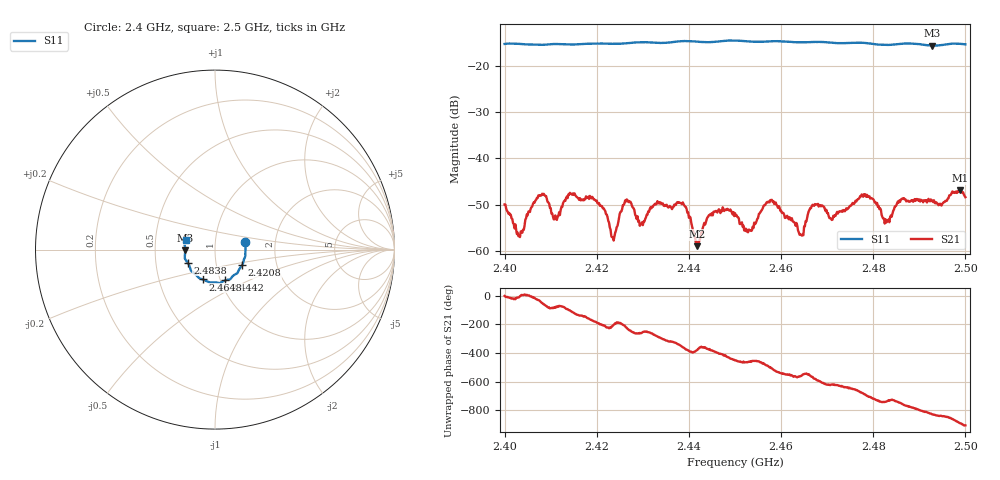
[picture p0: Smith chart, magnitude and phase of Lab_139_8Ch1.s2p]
# Hz S RI R 50
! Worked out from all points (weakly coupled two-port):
!   601 points, 2.4 GHz to 2.5 GHz, reference 50 ohm
!   highest |S21| = -46.89 dB at 2.4988 GHz (marker M1); lowest = -59.0 dB at 2.4418 GHz (marker M2)
!   lowest |S11| = -15.6 dB at 2.4928 GHz (marker M3), VSWR 1.40, Z = 35.8 - j0.363 ohm
!   |S11| at or under -10 dB: start of sweep to end of sweep
!   S12 and S22 are empty: the file has one direction only
!   S11 on the Smith chart (normalised r, x): 2.4 GHz: 1.40, +0.12; 2.4208 GHz: 1.33, -0.24; 2.4442 GHz: 1.05, -0.37; 2.4648 GHz: 0.83, -0.28; 2.4838 GHz: 0.73, -0.11; 2.5 GHz: 0.72, +0.08
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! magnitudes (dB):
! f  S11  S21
! 2.4 GHz  -15.3  -50.0
! 2.4032 GHz  -15.2  -56.9
! 2.4078 GHz  -15.4  -48.0
! 2.4167 GHz  -15.3  -48.9
! 2.4208 GHz  -15.2  -50.2
! 2.4237 GHz  -15.2  -57.8
! 2.4263 GHz  -15.1  -49.3
! 2.4298 GHz  -14.9  -53.8
! 2.4333 GHz  -15.0  -49.7
! 2.4388 GHz  -14.6  -49.9
! 2.4418 GHz  -14.8  -59.0
! 2.4442 GHz  -14.9  -52.6
! 2.45 GHz  -14.5  -51.8
! 2.4532 GHz  -14.7  -55.5
! 2.4578 GHz  -14.7  -49.0
! 2.4648 GHz  -14.9  -56.6
! 2.4667 GHz  -14.8  -50.3
! 2.4833 GHz  -15.5  -53.2
! 2.4838 GHz  -15.4  -52.3
! 2.4928 GHz  -15.6  -49.3
! 2.4988 GHz  -15.2  -46.9
! 2.5 GHz  -15.3  -48.4
